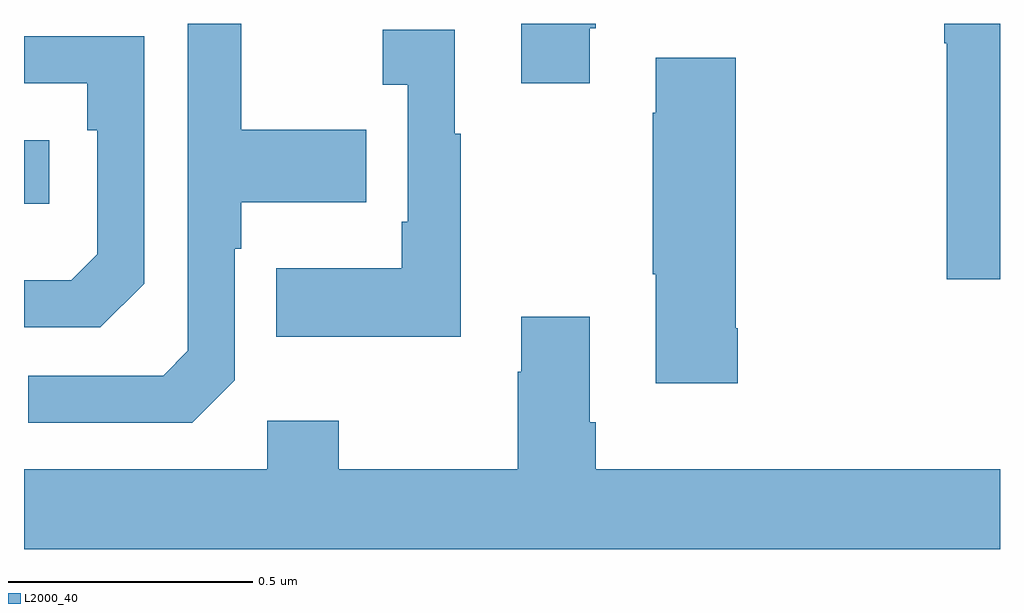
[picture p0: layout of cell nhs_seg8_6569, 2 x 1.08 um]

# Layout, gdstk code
import gdstk
lib = gdstk.Library(unit=1e-6, precision=1e-09)
def R(c, l, rs):  # rectangles x0, y0, x1, y1
    for r in rs: c.add(gdstk.rectangle(r[:2], r[2:], *l))
def P(c, l, *ps):  # polygons
    for p in ps: c.add(gdstk.Polygon(p, *l))
L2000_40 = (2000, 40)

nhs_seg8_6569 = lib.new_cell('nhs_seg8_6569')
R(nhs_seg8_6569, L2000_40, [(198,1126.532,198.052,1126.662)])
P(nhs_seg8_6569, L2000_40, [(199.159,1126.891),(199.172,1126.891),(199.172,1126.9),(199.019,1126.9),(199.019,1126.779),(199.159,1126.779)],
  [(200,1126.9),(199.886,1126.9),(199.886,1126.86),(199.891,1126.86),(199.891,1126.377),(200,1126.377)],
  [(198.432,1126.17),(198.432,1126.439),(198.445,1126.439),(198.445,1126.535),(198.701,1126.535),(198.701,1126.683),(198.445,1126.683),(198.445,1126.9),(198.336,1126.9),(198.336,1126.23),(198.285,1126.179),(198.009,1126.179),(198.009,1126.083),(198.345,1126.083)],
  [(198.895,1126.675),(198.883,1126.675),(198.883,1126.888),(198.735,1126.888),(198.735,1126.775),(198.786,1126.775),(198.786,1126.495),(198.774,1126.495),(198.774,1126.399),(198.517,1126.399),(198.517,1126.259),(198.895,1126.259)],
  [(198.246,1126.368),(198.246,1126.875),(198,1126.875),(198,1126.779),(198.13,1126.779),(198.13,1126.682),(198.15,1126.682),(198.15,1126.428),(198.097,1126.375),(198,1126.375),(198,1126.278),(198.156,1126.278)],
  [(199.463,1126.276),(199.458,1126.276),(199.458,1126.831),(199.295,1126.831),(199.295,1126.718),(199.288,1126.718),(199.288,1126.387),(199.295,1126.387),(199.295,1126.164),(199.463,1126.164)],
  [(200,1125.988),(199.172,1125.988),(199.172,1126.084),(199.159,1126.084),(199.159,1126.3),(199.019,1126.3),(199.019,1126.187),(199.012,1126.187),(199.012,1125.988),(198.645,1125.988),(198.645,1126.087),(198.498,1126.087),(198.498,1125.988),(198,1125.988),(198,1125.824),(200,1125.824)])

lib.write_gds('nhs_seg8_6569.gds')
